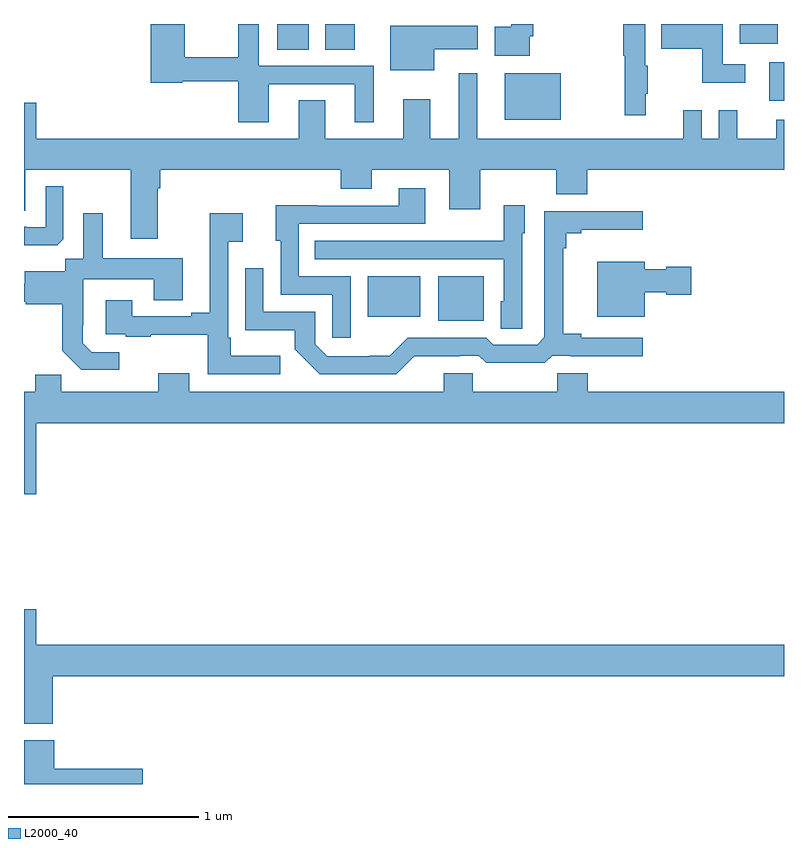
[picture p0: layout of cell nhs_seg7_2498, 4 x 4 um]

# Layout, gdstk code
import gdstk
lib = gdstk.Library(unit=1e-6, precision=1e-09)
def R(c, l, rs):  # rectangles x0, y0, x1, y1
    for r in rs: c.add(gdstk.rectangle(r[:2], r[2:], *l))
def P(c, l, *ps):  # polygons
    for p in ps: c.add(gdstk.Polygon(p, *l))
L2000_40 = (2000, 40)

nhs_seg7_2498 = lib.new_cell('nhs_seg7_2498')
R(nhs_seg7_2498, L2000_40, [(275.18,1050.437,275.419,1050.673), (274.808,1050.458,275.086,1050.673), (275.531,1051.496,275.824,1051.741), (276.923,1051.595,277,1051.798), (274.334,1051.864,274.498,1052), (274.586,1051.864,274.741,1052), (276.767,1051.895,276.967,1052)])
P(nhs_seg7_2498, L2000_40, [(276.796,1051.788),(276.678,1051.788),(276.678,1052),(276.355,1052),(276.355,1051.87),(276.57,1051.87),(276.57,1051.691),(276.796,1051.691)],
  [(274.288,1051.683),(274.742,1051.683),(274.742,1051.482),(274.84,1051.482),(274.84,1051.779),(274.236,1051.779),(274.236,1052),(274.128,1052),(274.128,1051.826),(273.846,1051.826),(273.846,1052),(273.668,1052),(273.668,1051.69),(273.834,1051.69),(273.834,1051.698),(274.127,1051.698),(274.127,1051.482),(274.288,1051.482)],
  [(275.661,1051.936),(275.681,1051.936),(275.681,1052),(275.564,1052),(275.564,1051.985),(275.478,1051.985),(275.478,1051.832),(275.661,1051.832)],
  [(276.272,1051.633),(276.283,1051.633),(276.283,1051.781),(276.27,1051.781),(276.27,1052),(276.154,1052),(276.154,1051.833),(276.162,1051.833),(276.162,1051.521),(276.272,1051.521)],
  [(275.158,1051.868),(275.389,1051.868),(275.389,1051.99),(274.928,1051.99),(274.928,1051.757),(275.158,1051.757)],
  [(273.703,1051.136),(273.716,1051.136),(273.716,1051.232),(274.667,1051.232),(274.667,1051.133),(274.831,1051.133),(274.831,1051.232),(275.237,1051.232),(275.237,1051.026),(275.401,1051.026),(275.401,1051.232),(275.801,1051.232),(275.801,1051.104),(275.965,1051.104),(275.965,1051.232),(277,1051.232),(277,1051.495),(276.959,1051.495),(276.959,1051.396),(276.755,1051.396),(276.755,1051.546),(276.657,1051.546),(276.657,1051.396),(276.567,1051.396),(276.567,1051.546),(276.47,1051.546),(276.47,1051.396),(275.386,1051.396),(275.386,1051.741),(275.288,1051.741),(275.288,1051.396),(275.137,1051.396),(275.137,1051.603),(274.997,1051.603),(274.997,1051.396),(274.585,1051.396),(274.585,1051.598),(274.445,1051.598),(274.445,1051.396),(273.064,1051.396),(273.064,1051.585),(273,1051.585),(273,1051.018),(273.006,1051.018),(273.006,1051.232),(273.563,1051.232),(273.563,1050.87),(273.703,1050.87)],
  [(273.207,1050.867),(273.207,1051.147),(273.114,1051.147),(273.114,1050.93),(273.014,1050.93),(273.014,1050.933),(273,1050.933),(273,1050.836),(273.175,1050.836)],
  [(274.719,1050.672),(274.446,1050.672),(274.446,1050.948),(275.113,1050.948),(275.113,1051.135),(274.973,1051.135),(274.973,1051.044),(274.543,1051.044),(274.543,1051.046),(274.325,1051.046),(274.325,1050.858),(274.35,1050.858),(274.35,1050.576),(274.623,1050.576),(274.623,1050.348),(274.719,1050.348)],
  [(275.622,1050.9),(275.635,1050.9),(275.635,1051.045),(275.526,1051.045),(275.526,1050.859),(275.209,1050.859),(275.209,1050.858),(274.531,1050.858),(274.531,1050.762),(275.526,1050.762),(275.526,1050.54),(275.51,1050.54),(275.51,1050.397),(275.622,1050.397)],
  [(275.054,1050.251),(275.294,1050.251),(275.294,1050.255),(275.394,1050.255),(275.434,1050.216),(275.741,1050.216),(275.781,1050.255),(275.875,1050.255),(275.875,1050.251),(276.256,1050.251),(276.256,1050.348),(275.932,1050.348),(275.932,1050.371),(275.837,1050.371),(275.837,1050.821),(275.855,1050.821),(275.855,1050.898),(275.932,1050.898),(275.932,1050.917),(276.256,1050.917),(276.256,1051.014),(275.739,1051.014),(275.739,1050.351),(275.7,1050.312),(275.469,1050.312),(275.433,1050.348),(275.019,1050.348),(274.925,1050.254),(274.82,1050.254),(274.82,1050.252),(274.596,1050.252),(274.533,1050.315),(274.533,1050.486),(274.26,1050.486),(274.26,1050.715),(274.164,1050.715),(274.164,1050.389),(274.426,1050.389),(274.426,1050.287),(274.556,1050.156),(274.959,1050.156)],
  [(274.348,1050.253),(274.087,1050.253),(274.087,1050.349),(274.074,1050.349),(274.074,1050.854),(274.15,1050.854),(274.15,1051.003),(273.977,1051.003),(273.977,1050.481),(273.881,1050.481),(273.881,1050.462),(273.571,1050.462),(273.571,1050.547),(273.431,1050.547),(273.431,1050.366),(273.535,1050.366),(273.535,1050.354),(273.667,1050.354),(273.667,1050.365),(273.966,1050.365),(273.966,1050.156),(274.348,1050.156)],
  [(273.502,1050.273),(273.357,1050.273),(273.31,1050.32),(273.31,1050.415),(273.312,1050.415),(273.312,1050.656),(273.683,1050.656),(273.683,1050.547),(273.835,1050.547),(273.835,1050.766),(273.415,1050.766),(273.415,1051.003),(273.311,1051.003),(273.311,1050.764),(273.216,1050.764),(273.216,1050.7),(273.005,1050.7),(273.005,1050.633),(273,1050.633),(273,1050.537),(273.009,1050.537),(273.009,1050.525),(273.201,1050.525),(273.201,1050.279),(273.301,1050.179),(273.502,1050.179)],
  [(276.268,1050.587),(276.381,1050.587),(276.381,1050.575),(276.511,1050.575),(276.511,1050.722),(276.381,1050.722),(276.381,1050.709),(276.268,1050.709),(276.268,1050.748),(276.017,1050.748),(276.017,1050.458),(276.268,1050.458)],
  [(277,1050.064),(275.966,1050.064),(275.966,1050.162),(275.806,1050.162),(275.806,1050.064),(275.361,1050.064),(275.361,1050.162),(275.21,1050.162),(275.21,1050.064),(273.871,1050.064),(273.871,1050.163),(273.707,1050.163),(273.707,1050.064),(273.197,1050.064),(273.197,1050.155),(273.059,1050.155),(273.059,1050.064),(273,1050.064),(273,1049.526),(273.064,1049.526),(273.064,1049.9),(277,1049.9)],
  [(273.152,1048.568),(277,1048.568),(277,1048.732),(273.064,1048.732),(273.064,1048.921),(273,1048.921),(273,1048.316),(273.152,1048.316)],
  [(273.625,1048.079),(273.16,1048.079),(273.16,1048.231),(273,1048.231),(273,1048),(273.625,1048)])

lib.write_gds('nhs_seg7_2498.gds')
